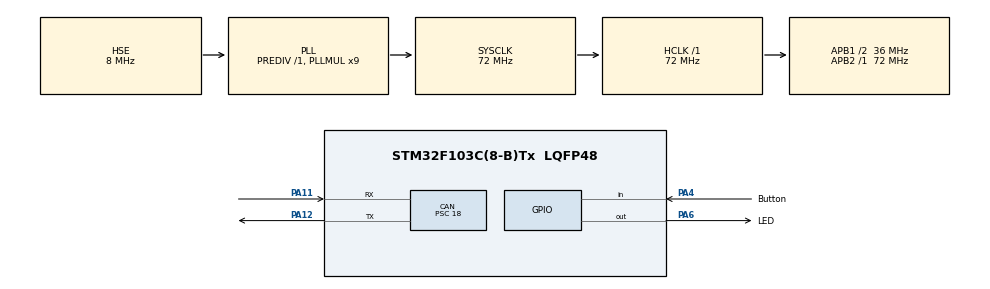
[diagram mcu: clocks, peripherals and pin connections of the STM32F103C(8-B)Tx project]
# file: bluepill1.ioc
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CAN.BS1=CAN_BS1_2TQ
CAN.CalculateBaudRate=500000
CAN.CalculateTimeBit=2000
CAN.CalculateTimeQuantum=500.0
CAN.Prescaler=18
Mcu.Family=STM32F1
Mcu.Name=STM32F103C(8-B)Tx
Mcu.Package=LQFP48
NVIC.CAN1_RX1_IRQn=true\:0\:0\:false\:false\:true\:true\:true\:true
NVIC.PriorityGroup=NVIC_PRIORITYGROUP_4
NVIC.USB_LP_CAN1_RX0_IRQn=true\:0\:0\:false\:false\:true\:true\:true\:true
PA11.Mode=CAN_Activate
PA11.Signal=CAN_RX
PA12.Mode=CAN_Activate
PA12.Signal=CAN_TX
PA13.Mode=Serial_Wire
PA13.Signal=SYS_JTMS-SWDIO
PA14.Mode=Serial_Wire
PA14.Signal=SYS_JTCK-SWCLK
PA4.GPIO_Label=Button
PA4.GPIO_PuPd=GPIO_PULLUP
PA4.Signal=GPIO_Input
PA6.GPIO_Label=LED
PA6.Signal=GPIO_Output
PD0-OSC_IN.Mode=HSE-External-Oscillator
PD0-OSC_IN.Signal=RCC_OSC_IN
PD1-OSC_OUT.Mode=HSE-External-Oscillator
PD1-OSC_OUT.Signal=RCC_OSC_OUT
ProjectManager.HeapSize=0x200
ProjectManager.StackSize=0x400
ProjectManager.TargetToolchain=MDK-ARM V5.32
RCC.AHBFreq_Value=72000000
RCC.APB1CLKDivider=RCC_HCLK_DIV2
RCC.APB1Freq_Value=36000000
RCC.APB1TimFreq_Value=72000000
RCC.APB2Freq_Value=72000000
RCC.APB2TimFreq_Value=72000000
RCC.HCLKFreq_Value=72000000
RCC.PLLMUL=RCC_PLL_MUL9
RCC.PLLSourceVirtual=RCC_PLLSOURCE_HSE
RCC.SYSCLKFreq_VALUE=72000000
RCC.SYSCLKSource=RCC_SYSCLKSOURCE_PLLCLK
RCC.USBFreq_Value=72000000
board=custom

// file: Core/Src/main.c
/* USER CODE BEGIN Header */
/**
  ******************************************************************************
  * @file           : main.c
  * @brief          : Main program body
  ******************************************************************************
  * @attention
  *
  * Copyright (c) 2024 STMicroelectronics.
  * All rights reserved.
  *
  * This software is licensed under terms that can be found in the LICENSE file
  * in the root directory of this software component.
  * If no LICENSE file comes with this software, it is provided AS-IS.
  *
  ******************************************************************************
  */
/* USER CODE END Header */
#include "main.h"

CAN_HandleTypeDef hcan;

void SystemClock_Config(void);
static void MX_GPIO_Init(void);
static void MX_CAN_Init(void);

/* USER CODE BEGIN 0 */
CAN_TxHeaderTypeDef TxHeader;
CAN_RxHeaderTypeDef RxHeader;

uint8_t TxData[2];
uint8_t RxData[2];

uint32_t TxMailbox;

int datacheck = 0;

void sendData(void)
{
	static int buttonPressed = 0; // Keep track of button press state

	if (HAL_GPIO_ReadPin(Button_GPIO_Port, Button_Pin) == GPIO_PIN_RESET && !buttonPressed)
	{
			TxData[0] = 100;  // Delay
			TxData[1] = 5;    // No of times led will blink

			HAL_CAN_AddTxMessage(&hcan, &TxHeader, TxData, &TxMailbox);
			buttonPressed = 1; // Mark button as pressed
	}
	else if (HAL_GPIO_ReadPin(Button_GPIO_Port, Button_Pin) == GPIO_PIN_SET)
	{
			buttonPressed = 0; // Reset button state when released
	}
//
//	if(HAL_GPIO_ReadPin(Button_GPIO_Port, Button_Pin) == GPIO_PIN_RESET)
//	{
//		TxData[0] = 100;  // Delay
//		TxData[1] = 5;    // No of times led will blink
//
//		HAL_CAN_AddTxMessage(&hcan, &TxHeader, TxData, &TxMailbox);
//	}
}

void receiveData(void)
{
//	if (datacheck)
//	{
//		for(int i = 0; i < RxData[1]; i++)
//		{
//			HAL_GPIO_TogglePin(LED_GPIO_Port,LED_Pin);
//			HAL_Delay(RxData[0]);
//		}
//		datacheck = 0;
//	}
	  if (datacheck)
    {
        for(int i = 0; i < RxData[1]; i++)
        {
            HAL_GPIO_TogglePin(LED_GPIO_Port,LED_Pin);
            HAL_Delay(RxData[0]);
        }
        HAL_GPIO_WritePin(LED_GPIO_Port, LED_Pin, GPIO_PIN_RESET); // Turn off LED after blinking
        datacheck = 0;
    }
}

void HAL_CAN_RxFifo1MsgPendingCallback(CAN_HandleTypeDef *hcan)
{
	HAL_CAN_GetRxMessage(hcan, CAN_RX_FIFO1, &RxHeader, RxData);
	if (RxHeader.DLC == 2)
	{
		datacheck = 1;
	}
}

/* USER CODE END 0 */

int main(void)
{

  /* MCU Configuration--------------------------------------------------------*/

  /* Reset of all peripherals, Initializes the Flash interface and the Systick. */
  HAL_Init();

  /* Configure the system clock */
  SystemClock_Config();

  /* Initialize all configured peripherals */
  MX_GPIO_Init();
  MX_CAN_Init();
  /* USER CODE BEGIN 2 */
	HAL_CAN_Start(&hcan);

	// Activate notification
	HAL_CAN_ActivateNotification(&hcan, CAN_IT_RX_FIFO1_MSG_PENDING);

	TxHeader.DLC = 2;
	TxHeader.IDE = CAN_ID_STD;
	TxHeader.RTR = CAN_RTR_DATA;
	TxHeader.StdId = 0x50;

	/* USER CODE END 2 */

  /* Infinite loop */
  while (1)
  {

    /* USER CODE BEGIN 3 */
		sendData();
		receiveData();
  }
  /* USER CODE END 3 */
}

void SystemClock_Config(void)
{
  RCC_OscInitTypeDef RCC_OscInitStruct = {0};
  RCC_ClkInitTypeDef RCC_ClkInitStruct = {0};

  /** Initializes the RCC Oscillators according to the specified parameters
  * in the RCC_OscInitTypeDef structure.
  */
  RCC_OscInitStruct.OscillatorType = RCC_OSCILLATORTYPE_HSE;
  RCC_OscInitStruct.HSEState = RCC_HSE_ON;
  RCC_OscInitStruct.HSEPredivValue = RCC_HSE_PREDIV_DIV1;
  RCC_OscInitStruct.HSIState = RCC_HSI_ON;
  RCC_OscInitStruct.PLL.PLLState = RCC_PLL_ON;
  RCC_OscInitStruct.PLL.PLLSource = RCC_PLLSOURCE_HSE;
  RCC_OscInitStruct.PLL.PLLMUL = RCC_PLL_MUL9;
  if (HAL_RCC_OscConfig(&RCC_OscInitStruct) != HAL_OK)
  {
    Error_Handler();
  }

  /** Initializes the CPU, AHB and APB buses clocks
  */
  RCC_ClkInitStruct.ClockType = RCC_CLOCKTYPE_HCLK|RCC_CLOCKTYPE_SYSCLK
                              |RCC_CLOCKTYPE_PCLK1|RCC_CLOCKTYPE_PCLK2;
  RCC_ClkInitStruct.SYSCLKSource = RCC_SYSCLKSOURCE_PLLCLK;
  RCC_ClkInitStruct.AHBCLKDivider = RCC_SYSCLK_DIV1;
  RCC_ClkInitStruct.APB1CLKDivider = RCC_HCLK_DIV2;
  RCC_ClkInitStruct.APB2CLKDivider = RCC_HCLK_DIV1;

  if (HAL_RCC_ClockConfig(&RCC_ClkInitStruct, FLASH_LATENCY_2) != HAL_OK)
  {
    Error_Handler();
  }
}

static void MX_CAN_Init(void)
{

  hcan.Instance = CAN1;
  hcan.Init.Prescaler = 18;
  hcan.Init.Mode = CAN_MODE_NORMAL;
  hcan.Init.SyncJumpWidth = CAN_SJW_1TQ;
  hcan.Init.TimeSeg1 = CAN_BS1_2TQ;
  hcan.Init.TimeSeg2 = CAN_BS2_1TQ;
  hcan.Init.TimeTriggeredMode = DISABLE;
  hcan.Init.AutoBusOff = DISABLE;
  hcan.Init.AutoWakeUp = DISABLE;
  hcan.Init.AutoRetransmission = DISABLE;
  hcan.Init.ReceiveFifoLocked = DISABLE;
  hcan.Init.TransmitFifoPriority = DISABLE;
  if (HAL_CAN_Init(&hcan) != HAL_OK)
  {
    Error_Handler();
  }
  /* USER CODE BEGIN CAN_Init 2 */
	CAN_FilterTypeDef  canfilterconfig;

	canfilterconfig.FilterActivation = CAN_FILTER_ENABLE;
	canfilterconfig.FilterBank       = 10;
	canfilterconfig.FilterFIFOAssignment = CAN_FilterFIFO1;
	canfilterconfig.FilterIdHigh = 0x100<<5;
	canfilterconfig.FilterIdLow = 0;
	canfilterconfig.FilterMaskIdHigh = 0x100 << 5;
	canfilterconfig.FilterMaskIdLow = 0x0000;
	canfilterconfig.FilterMode = CAN_FILTERMODE_IDMASK;
	canfilterconfig.FilterScale = CAN_FILTERSCALE_32BIT;
	canfilterconfig.SlaveStartFilterBank = 0;  //intial 40

	HAL_CAN_ConfigFilter(&hcan, &canfilterconfig);
  /* USER CODE END CAN_Init 2 */

}

static void MX_GPIO_Init(void)
{
  GPIO_InitTypeDef GPIO_InitStruct = {0};

  /* GPIO Ports Clock Enable */
  __HAL_RCC_GPIOD_CLK_ENABLE();
  __HAL_RCC_GPIOA_CLK_ENABLE();

  /*Configure GPIO pin Output Level */
  HAL_GPIO_WritePin(LED_GPIO_Port, LED_Pin, GPIO_PIN_RESET);

  /*Configure GPIO pin : Button_Pin */
  GPIO_InitStruct.Pin = Button_Pin;
  GPIO_InitStruct.Mode = GPIO_MODE_INPUT;
  GPIO_InitStruct.Pull = GPIO_PULLUP;
  HAL_GPIO_Init(Button_GPIO_Port, &GPIO_InitStruct);

  /*Configure GPIO pin : LED_Pin */
  GPIO_InitStruct.Pin = LED_Pin;
  GPIO_InitStruct.Mode = GPIO_MODE_OUTPUT_PP;
  GPIO_InitStruct.Pull = GPIO_NOPULL;
  GPIO_InitStruct.Speed = GPIO_SPEED_FREQ_LOW;
  HAL_GPIO_Init(LED_GPIO_Port, &GPIO_InitStruct);

}

void Error_Handler(void)
{
  __disable_irq();
  while (1)
  {
  }
}
